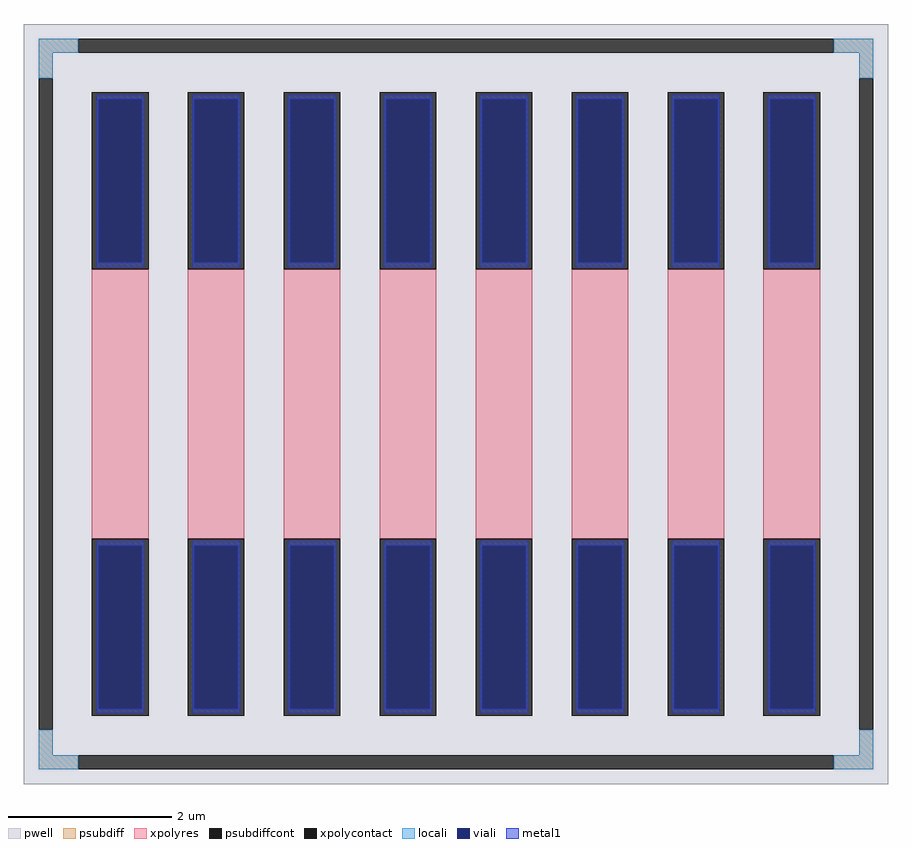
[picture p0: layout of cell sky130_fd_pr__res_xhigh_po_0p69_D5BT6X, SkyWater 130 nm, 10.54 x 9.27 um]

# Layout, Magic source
magic
tech sky130A
magscale 1 2
<< pwell >>
rect -1054 -927 1054 927
<< psubdiff >>
rect -1018 857 -922 891
rect 922 857 1018 891
rect -1018 795 -984 857
rect 984 795 1018 857
rect -1018 -857 -984 -795
rect 984 -857 1018 -795
rect -1018 -891 -922 -857
rect 922 -891 1018 -857
<< psubdiffcont >>
rect -922 857 922 891
rect -1018 -795 -984 795
rect 984 -795 1018 795
rect -922 -891 922 -857
<< xpolycontact >>
rect -888 329 -750 761
rect -888 -761 -750 -329
rect -654 329 -516 761
rect -654 -761 -516 -329
rect -420 329 -282 761
rect -420 -761 -282 -329
rect -186 329 -48 761
rect -186 -761 -48 -329
rect 48 329 186 761
rect 48 -761 186 -329
rect 282 329 420 761
rect 282 -761 420 -329
rect 516 329 654 761
rect 516 -761 654 -329
rect 750 329 888 761
rect 750 -761 888 -329
<< xpolyres >>
rect -888 -329 -750 329
rect -654 -329 -516 329
rect -420 -329 -282 329
rect -186 -329 -48 329
rect 48 -329 186 329
rect 282 -329 420 329
rect 516 -329 654 329
rect 750 -329 888 329
<< locali >>
rect -1018 857 -922 891
rect 922 857 1018 891
rect -1018 795 -984 857
rect 984 795 1018 857
rect -1018 -857 -984 -795
rect 984 -857 1018 -795
rect -1018 -891 -922 -857
rect 922 -891 1018 -857
<< viali >>
rect -872 346 -766 743
rect -638 346 -532 743
rect -404 346 -298 743
rect -170 346 -64 743
rect 64 346 170 743
rect 298 346 404 743
rect 532 346 638 743
rect 766 346 872 743
rect -872 -743 -766 -346
rect -638 -743 -532 -346
rect -404 -743 -298 -346
rect -170 -743 -64 -346
rect 64 -743 170 -346
rect 298 -743 404 -346
rect 532 -743 638 -346
rect 766 -743 872 -346
<< metal1 >>
rect -878 743 -760 755
rect -878 346 -872 743
rect -766 346 -760 743
rect -878 334 -760 346
rect -644 743 -526 755
rect -644 346 -638 743
rect -532 346 -526 743
rect -644 334 -526 346
rect -410 743 -292 755
rect -410 346 -404 743
rect -298 346 -292 743
rect -410 334 -292 346
rect -176 743 -58 755
rect -176 346 -170 743
rect -64 346 -58 743
rect -176 334 -58 346
rect 58 743 176 755
rect 58 346 64 743
rect 170 346 176 743
rect 58 334 176 346
rect 292 743 410 755
rect 292 346 298 743
rect 404 346 410 743
rect 292 334 410 346
rect 526 743 644 755
rect 526 346 532 743
rect 638 346 644 743
rect 526 334 644 346
rect 760 743 878 755
rect 760 346 766 743
rect 872 346 878 743
rect 760 334 878 346
rect -878 -346 -760 -334
rect -878 -743 -872 -346
rect -766 -743 -760 -346
rect -878 -755 -760 -743
rect -644 -346 -526 -334
rect -644 -743 -638 -346
rect -532 -743 -526 -346
rect -644 -755 -526 -743
rect -410 -346 -292 -334
rect -410 -743 -404 -346
rect -298 -743 -292 -346
rect -410 -755 -292 -743
rect -176 -346 -58 -334
rect -176 -743 -170 -346
rect -64 -743 -58 -346
rect -176 -755 -58 -743
rect 58 -346 176 -334
rect 58 -743 64 -346
rect 170 -743 176 -346
rect 58 -755 176 -743
rect 292 -346 410 -334
rect 292 -743 298 -346
rect 404 -743 410 -346
rect 292 -755 410 -743
rect 526 -346 644 -334
rect 526 -743 532 -346
rect 638 -743 644 -346
rect 526 -755 644 -743
rect 760 -346 878 -334
rect 760 -743 766 -346
rect 872 -743 878 -346
rect 760 -755 878 -743
<< properties >>
string FIXED_BBOX -1001 -874 1001 874
string gencell sky130_fd_pr__res_xhigh_po_0p69
string library sky130
string parameters w 0.690 l 3.45 m 1 nx 8 wmin 0.690 lmin 0.50 rho 2000 val 10.545k dummy 0 dw 0.0 term 188.2 sterm 0.0 caplen 0 wmax 0.690 guard 1 glc 1 grc 1 gtc 1 gbc 1 compatible {sky130_fd_pr__res_xhigh_po_0p35  sky130_fd_pr__res_xhigh_po_0p69 sky130_fd_pr__res_xhigh_po_1p41  sky130_fd_pr__res_xhigh_po_2p85 sky130_fd_pr__res_xhigh_po_5p73} snake 0 full_metal 1 n_guard 0 hv_guard 0 vias 1 viagb 0 viagt 0 viagl 0 viagr 0
<< end >>
